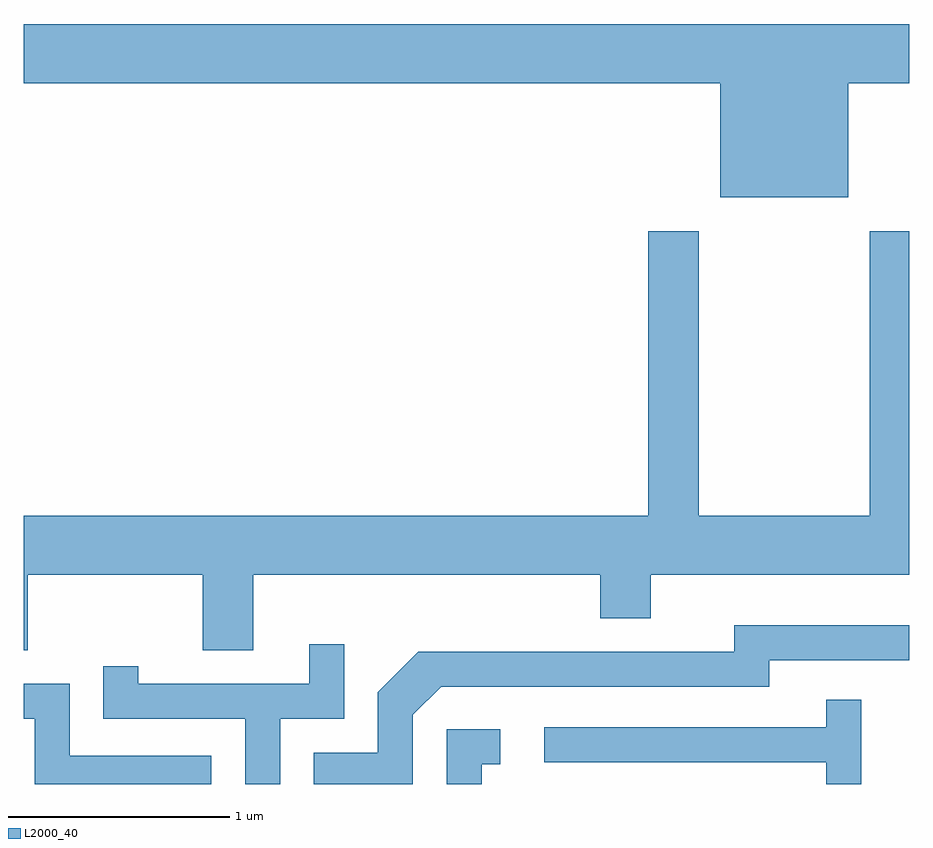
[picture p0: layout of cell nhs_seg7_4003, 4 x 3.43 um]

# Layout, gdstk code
import gdstk
lib = gdstk.Library(unit=1e-6, precision=1e-09)
def P(c, l, *ps):  # polygons
    for p in ps: c.add(gdstk.Polygon(p, *l))
L2000_40 = (2000, 40)

nhs_seg7_4003 = lib.new_cell('nhs_seg7_4003')
P(nhs_seg7_4003, L2000_40, [(311.334,1725.416),(311.611,1725.416),(311.611,1725.684),(307.611,1725.684),(307.611,1725.416),(310.756,1725.416),(310.756,1724.901),(311.334,1724.901)],
  [(307.629,1723.196),(308.421,1723.196),(308.421,1722.856),(308.649,1722.856),(308.649,1723.196),(310.216,1723.196),(310.216,1723.001),(310.444,1723.001),(310.444,1723.196),(311.611,1723.196),(311.611,1724.749),(311.431,1724.749),(311.431,1723.464),(310.659,1723.464),(310.659,1724.749),(310.431,1724.749),(310.431,1723.464),(307.611,1723.464),(307.611,1722.856),(307.629,1722.856)],
  [(309.369,1722.564),(309.497,1722.691),(310.979,1722.691),(310.979,1722.811),(311.611,1722.811),(311.611,1722.969),(310.821,1722.969),(310.821,1722.849),(309.394,1722.849),(309.211,1722.667),(309.211,1722.394),(308.921,1722.394),(308.921,1722.252),(309.369,1722.252)],
  [(308.769,1722.546),(309.059,1722.546),(309.059,1722.883),(308.901,1722.883),(308.901,1722.704),(308.129,1722.704),(308.129,1722.783),(307.971,1722.783),(307.971,1722.546),(308.611,1722.546),(308.611,1722.252),(308.769,1722.252)],
  [(308.459,1722.379),(307.819,1722.379),(307.819,1722.704),(307.611,1722.704),(307.611,1722.546),(307.661,1722.546),(307.661,1722.252),(308.459,1722.252)],
  [(311.394,1722.633),(311.236,1722.633),(311.236,1722.509),(309.963,1722.509),(309.963,1722.351),(311.236,1722.351),(311.236,1722.252),(311.394,1722.252)],
  [(309.679,1722.341),(309.763,1722.341),(309.763,1722.499),(309.521,1722.499),(309.521,1722.252),(309.679,1722.252)])

lib.write_gds('nhs_seg7_4003.gds')
